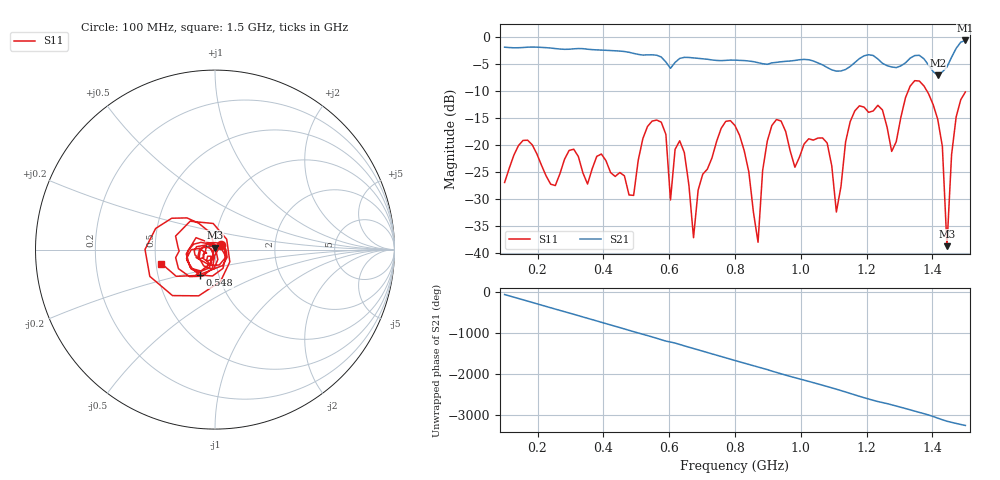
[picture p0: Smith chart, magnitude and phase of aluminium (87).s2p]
! NanoVNA-App
! Date: 2025-09-26 09:58:44
! Start: 100MHz Stop: 1,5GHz Points: 101
! S-Parameter data: F S11 S21 S12 S22
# Hz S RI R 50
!  Frequency  S11_Real  S11_Imag  S21_Real  S21_Imag  S12_Real  S12_Imag  S22_Real  S22_Imag
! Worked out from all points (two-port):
!   101 points, 100 MHz to 1.5 GHz, reference 50 ohm
!   highest |S21| = -0.67 dB at 1.5 GHz (marker M1); lowest = -7.1 dB at 1.416 GHz (marker M2)
!   |S21| within 3 dB of the highest: start of sweep to 573.2 MHz; 1.188 GHz to 1.225 GHz (36.7 MHz wide, 3.04 % of centre)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
!   lowest |S11| = -38.8 dB at 1.444 GHz (marker M3), VSWR 1.02, Z = 49.9 + j1.14 ohm
!   |S11| at or under -10 dB: start of sweep to 1.326 GHz; 1.383 GHz to end of sweep
!   S12 and S22 are empty: the file has one direction only
!   S11 on the Smith chart (normalised r, x): 100 MHz: 1.07, +0.06; 548 MHz: 0.81, -0.24; 1.5 GHz: 0.53, -0.09
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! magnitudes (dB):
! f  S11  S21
! 100 MHz  -27.0  -1.9
! 156 MHz  -19.2  -2.0
! 338 MHz  -25.2  -2.2
! 492 MHz  -29.4  -3.1
! 548 MHz  -15.6  -3.3
! 576 MHz  -15.8  -3.7
! 604 MHz  -30.2  -5.8
! 646 MHz  -21.4  -3.8
! 674 MHz  -37.2  -3.9
! 800 MHz  -16.4  -4.3
! 870 MHz  -38.1  -4.8
! 912 MHz  -16.4  -4.8
! 1.038 GHz  -19.1  -4.5
! 1.08 GHz  -19.7  -5.7
! 1.108 GHz  -32.4  -6.3
! 1.164 GHz  -13.7  -4.8
! 1.276 GHz  -21.2  -5.6
! 1.346 GHz  -8.1  -3.5
! 1.416 GHz  -15.3  -7.1
! 1.444 GHz  -38.8  -5.6
! 1.458 GHz  -21.8  -3.8
! 1.5 GHz  -10.2  -0.7
